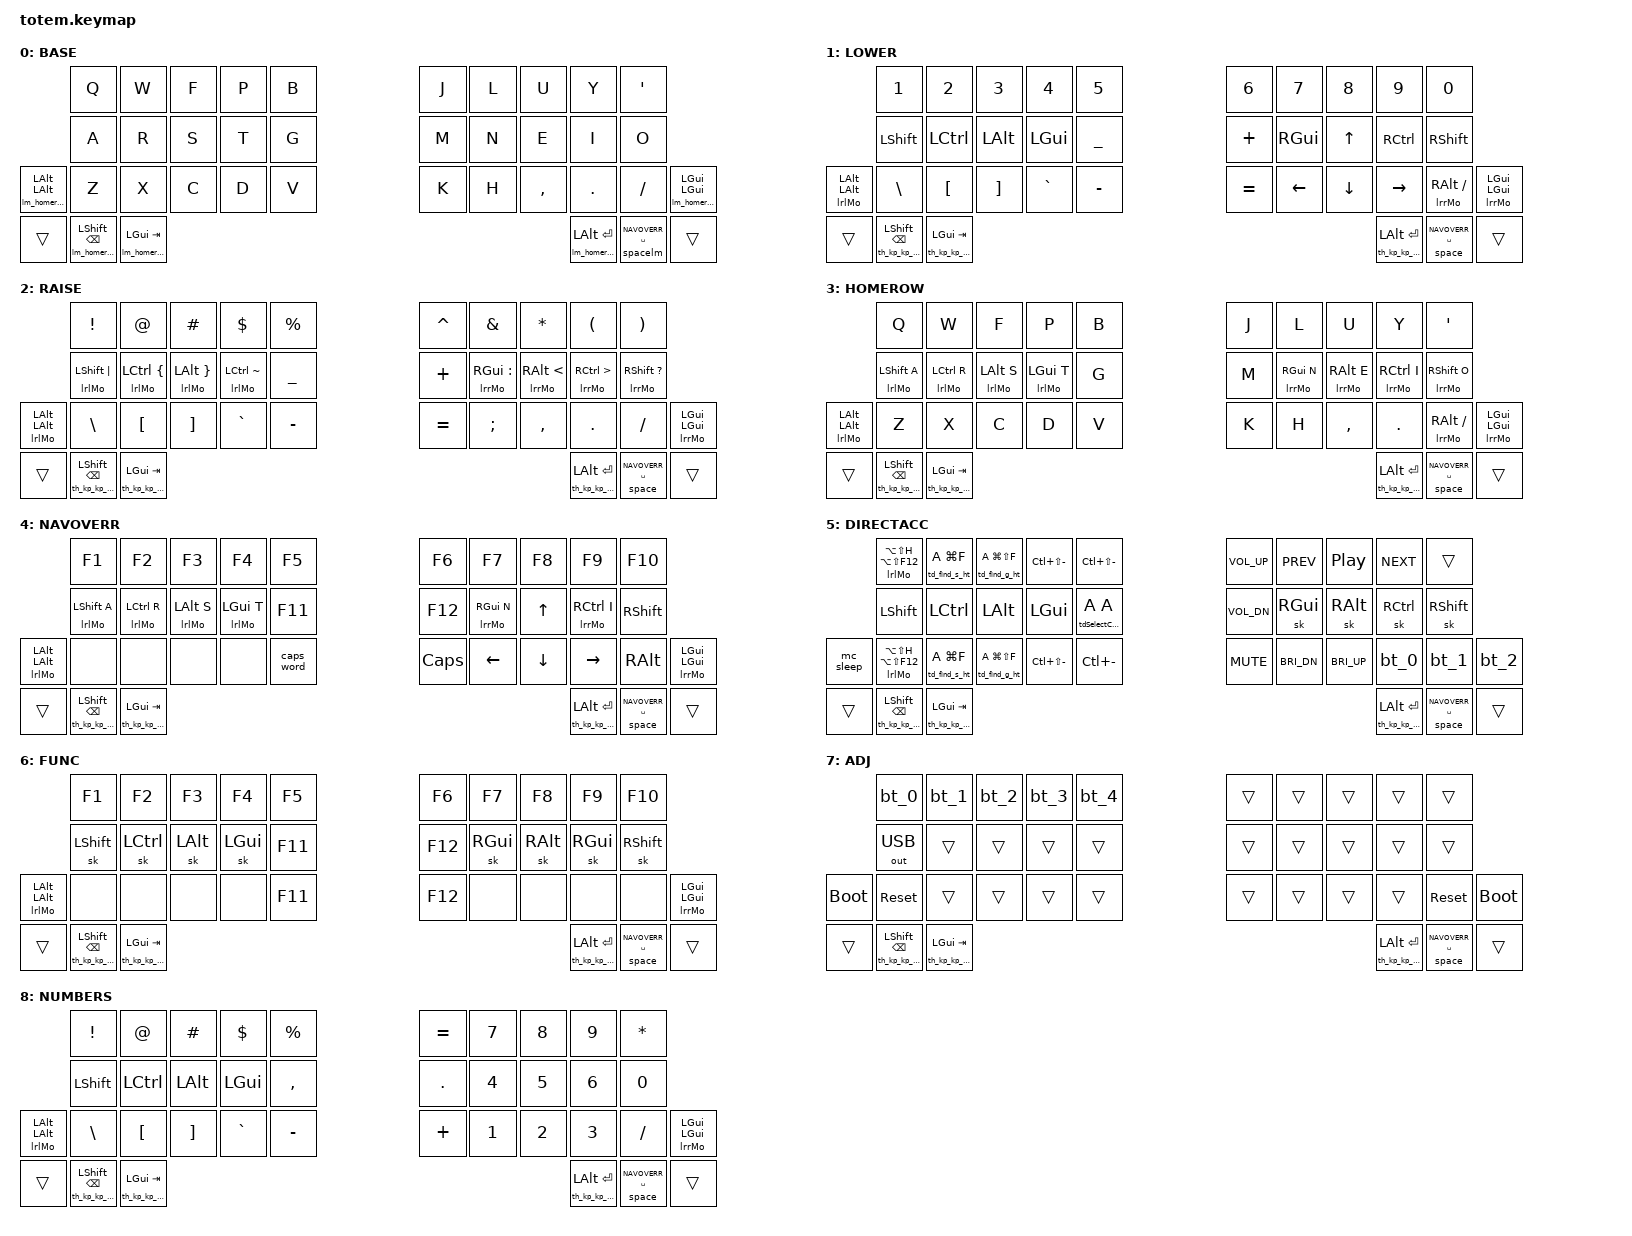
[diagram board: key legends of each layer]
// git add . && git commit -m 'adjust time thumbhold' && git push
/*
cd /Users/haroldhernandez/totem/zmk-config-totem 
source ~/zephyrproject/.venv/bin/activate

   west build -p \
     -s zmk/app -b seeeduino_xiao_ble -d build/left \
     -S zmk-usb-logging \
     -- \
     -DZMK_CONFIG="${PWD}/config" \
     -DOVERLAY_CONFIG=${PWD}/config/debug.conf \
     -DSHIELD=totem_left


   west build -p \
     -s zmk/app -b seeeduino_xiao_ble -d build/right \
     -S zmk-usb-logging \
     -- \
     -DZMK_CONFIG="${PWD}/config" \
     -DOVERLAY_CONFIG=${PWD}/config/debug.conf \
     -DSHIELD=totem_right

*/

#define ZMK_POINTING_DEFAULT_MOVE_VAL 600  // default: 600
#define ZMK_POINTING_DEFAULT_SCRL_VAL 10    // default: 10

/* On demand includes */

#include <behaviors/mouse_keys.dtsi>
#include <dt-bindings/zmk/mouse.h>
#include <behaviors.dtsi>
#include <dt-bindings/zmk/bt.h>
#include <dt-bindings/zmk/keys.h>
#include <dt-bindings/zmk/outputs.h>
#include <dt-bindings/zmk/pointing.h>

//     0  1  2  3  4     5  6  7  8  9
//    10 11 12 13 14    15 16 17 18 19
//20  21 22 23 24 25    26 27 28 29 30  31
//        32 33 34         35 36 37

#define BASE 0
#define LOWER  1
#define RAISE  2
#define HOMEROW 3
#define NAVOVERR 4
#define DIRECTACC 5
#define FUNC 6
#define ADJ  7
#define NUMBERS 8

//shift+BKSPACE<>TILDES //cmd+TAB<>DRAGTHUMB(inverted LOWER and DIRECTACC in low row only when DRAGTHUMB not activated)               //alt+ENT<>RAISE //NAVOVERR+SPC<>TILDES

&caps_word {
    continue-list = <UNDERSCORE MINUS>;
};

/ {
    #include "macros/macros_general.dtsi"
    #include "behaviors/behaviors_general.dtsi"
   #include "combos/combos_general.dtsi"

    keymap {
        compatible = "zmk,keymap";
 base_layer {
            label = "BASE";
            bindings = <
                               &kp Q    &kp W    &kp F    &kp P   &kp B                  &kp J    &kp L    &kp U          &kp Y       &kp SQT
                               &kp A    &kp R    &kp S    &kp T   &kp G                  &kp M    &kp N    &kp E          &kp I       &kp O
&lm_homerow_short LALT LALT    &kp Z    &kp X    &kp C    &kp D   &kp V                  &kp K    &kp H    &kp COMMA      &kp DOT     &kp SLASH    &lm_homerow LGUI LGUI
   &trans  &lm_homerow_short LSHFT BACKSPACE  &lm_homerow_short LGUI TAB                &lm_homerow_short LALT ENTER  &spacelm NAVOVERR SPACE  &trans
            >;
        };

        lower_layer {
            label = "LOWER";
            bindings = <
                  &kp N1     &kp N2     &kp N3                  &kp N4                    &kp N5                          &kp N6              &kp N7                     &kp N8                    &kp N9     &kp N0
                  &kp LSHFT  &kp LCTRL  &kp LALT                &kp LGUI                  &kp UNDER                       &kp PLUS            &kp RGUI                   &kp UP                    &kp RCTRL  &kp RSHFT
&lrlMo LALT LALT  &kp BSLH   &kp LBKT   &kp RBKT                &kp GRAVE                 &kp MINUS                       &kp EQUAL           &kp LEFT                   &kp DOWN                  &kp RIGHT  &lrrMo RALT SLASH  &lrrMo LGUI LGUI
                                           &trans  &th_kp_kp_hp LSHFT BACKSPACE  &th_kp_kp_hp LGUI TAB                 &th_kp_kp_hp LALT ENTER   &space NAVOVERR SPACE  &trans  
            >;
        };

        raise_layer {
            label = "RAISE";
            bindings = <
                  &kp EXCL           &kp AT             &kp HASH                &kp DLLR                  &kp PRCNT                       &kp CARET           &kp AMPS                   &kp STAR                  &kp LPAR         &kp RPAR
                  &lrlMo LSHFT PIPE  &lrlMo LCTRL LBRC  &lrlMo LALT RBRC        &lrlMo LCTRL TILDE        &kp UNDER                       &kp PLUS            &lrrMo RGUI COLON          &lrrMo RALT LT            &lrrMo RCTRL GT  &lrrMo RSHFT QUESTION
&lrlMo LALT LALT  &kp BSLH           &kp LBKT           &kp RBKT                &kp GRAVE                 &kp MINUS                       &kp EQUAL           &kp SEMI                   &kp COMMA                 &kp DOT          &kp SLASH              &lrrMo LGUI LGUI
                                                        &trans  &th_kp_kp_hp LSHFT BACKSPACE  &th_kp_kp_hp LGUI TAB                 &th_kp_kp_hp LALT ENTER   &space NAVOVERR SPACE  &trans
            >;
        };

        layer_homerow {
            label = "HOMEROW";
            bindings = <
                  &kp Q           &kp W           &kp F                   &kp P                     &kp B                           &kp J               &kp L                      &kp U                     &kp Y           &kp SQT
                  &lrlMo LSHFT A  &lrlMo LCTRL R  &lrlMo LALT S           &lrlMo LGUI T             &kp G                           &kp M               &lrrMo RGUI N              &lrrMo RALT E             &lrrMo RCTRL I  &lrrMo RSHFT O
&lrlMo LALT LALT  &kp Z           &kp X           &kp C                   &kp D                     &kp V                           &kp K               &kp H                      &kp COMMA                 &kp DOT         &lrrMo RALT FSLH  &lrrMo LGUI LGUI
                                                  &trans  &th_kp_kp_hp LSHFT BACKSPACE  &th_kp_kp_hp LGUI TAB                 &th_kp_kp_hp LALT ENTER   &space NAVOVERR SPACE  &trans
            >;
        };

        layer_navoverr {
            label = "NAVOVERR";
            bindings = <
                  &kp F1          &kp F2          &kp F3                  &kp F4                         &kp F5                          &kp F6              &kp F7                     &kp F8                    &kp F9          &kp F10
                  &lrlMo LSHFT A  &lrlMo LCTRL R  &lrlMo LALT S           &lrlMo LGUI T                  &kp F11                         &kp F12             &lrrMo RGUI N              &kp UP                    &lrrMo RCTRL I  &kp RSHFT
&lrlMo LALT LALT  &none          &none            &none                   &none                          &caps_word                      &kp CAPS            &kp LEFT                   &kp DOWN                  &kp RIGHT       &kp RALT   &lrrMo LGUI LGUI
                                        &trans  &th_kp_kp_hp LSHFT BACKSPACE  &th_kp_kp_hp LGUI TAB                 &th_kp_kp_hp LALT ENTER   &space NAVOVERR SPACE  &trans
            >;
        };

        layer_direcaacc {
            label = "DIRECTACC";
            bindings = <
           &lrlMo LA(LS(H)) LA(LS(F12))  &td_find_s_ht A LG(F)  &td_find_g_ht A LG(LS(F))  &kp LC(LS(MINUS))  &kp LC(LS(MINUS))               &kp C_VOL_UP        &kp C_PREV                 &kp C_PP      &kp C_NEXT  &trans
           &kp LSHFT                     &kp LCTRL              &kp LALT                   &kp LGUI           &tdSelectCoppingLR A A          &kp C_VOL_DN        &sk RGUI                   &sk RALT      &sk RCTRL   &sk RSHFT
&mc_sleep  &lrlMo LA(LS(H)) LA(LS(F12))  &td_find_s_ht A LG(F)  &td_find_g_ht A LG(LS(F))  &kp LC(LS(MINUS))  &kp LC(MINUS)                   &kp C_MUTE          &kp C_BRI_DN               &kp C_BRI_UP  &bt_0       &bt_1      &bt_2
                                                                &trans  &th_kp_kp_hp LSHFT BACKSPACE  &th_kp_kp_hp LGUI TAB                 &th_kp_kp_hp LALT ENTER   &space NAVOVERR SPACE  &trans
            >;
        };

        layer_func {
            label = "FUNC";
            bindings = <
                  &kp F1     &kp F2     &kp F3                  &kp F4                    &kp F5                          &kp F6              &kp F7                     &kp F8                    &kp F9    &kp F10
                  &sk LSHFT  &sk LCTRL  &sk LALT                &sk LGUI                  &kp F11                         &kp F12             &sk RGUI                   &sk RALT                  &sk RGUI  &sk RSHFT
&lrlMo LALT LALT  &none      &none      &none                   &none                     &kp F11                         &kp F12             &none                      &none                     &none     &none      &lrrMo LGUI LGUI
                                        &trans  &th_kp_kp_hp LSHFT BACKSPACE  &th_kp_kp_hp LGUI TAB                 &th_kp_kp_hp LALT ENTER   &space NAVOVERR SPACE  &trans
            >;
        };

        adjust_layer {
            label = "ADJ";
            bindings = <
             &bt_0         &bt_1   &bt_2                   &bt_3                     &bt_4                           &trans                 &trans                  &trans                    &trans  &trans
             &out OUT_USB  &trans  &trans                  &trans                    &trans                          &trans                 &trans                  &trans                    &trans  &trans
&bootloader  &sys_reset    &trans  &trans                  &trans                    &trans                          &trans                 &trans                  &trans                    &trans  &sys_reset  &bootloader
                                   &trans  &th_kp_kp_hp LSHFT BACKSPACE  &th_kp_kp_hp LGUI TAB                 &th_kp_kp_hp LALT ENTER   &space NAVOVERR SPACE  &trans
            >;
        };

        layer_numbers {
            label = "NUMBERS";
            bindings = <
                  &kp EXCL           &kp AT             &kp HASH                &kp DLLR                  &kp PRCNT                       &kp EQUAL          &kp N7                    &kp N8                   &kp N9           &kp STAR
                  &kp LSHFT          &kp LCTRL          &kp LALT                &kp LGUI                  &kp COMMA                       &kp DOT            &kp N4                    &kp N5                   &kp N6           &kp N0
&lrlMo LALT LALT  &kp BSLH           &kp LBKT           &kp RBKT                &kp GRAVE                 &kp MINUS                       &kp PLUS           &kp N1                    &kp N2                   &kp N3           &kp SLASH              &lrrMo LGUI LGUI
                                                        &trans  &th_kp_kp_hp LSHFT BACKSPACE  &th_kp_kp_hp LGUI TAB                 &th_kp_kp_hp LALT ENTER   &space NAVOVERR SPACE  &trans
            >;
        };

    };
};
